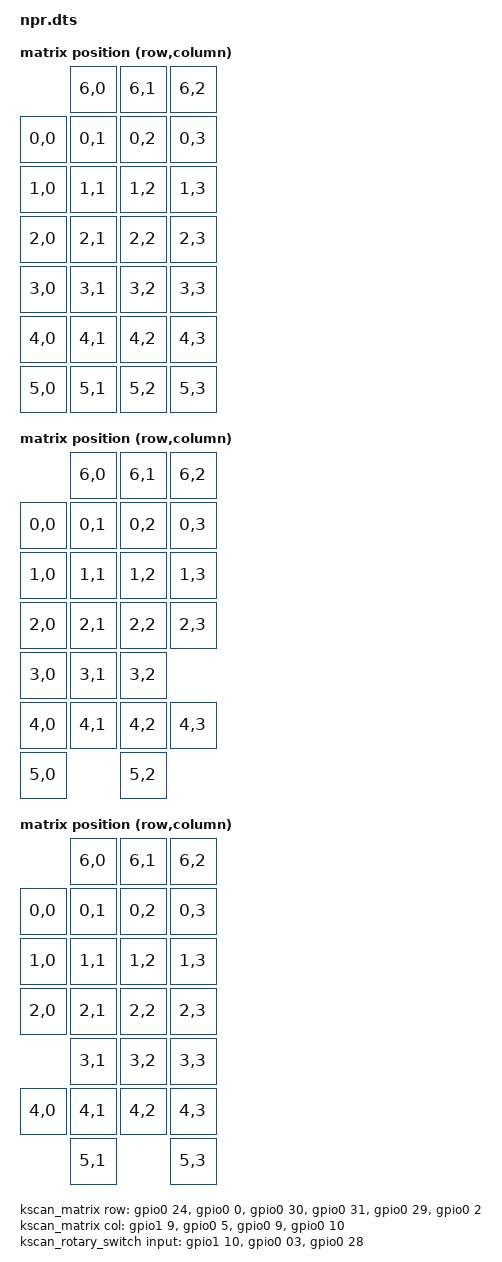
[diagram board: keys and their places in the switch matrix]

/dts-v1/;
#include "npr.dtsi"
#include "npr-pinctrl.dtsi"
#include "npr-layouts.dtsi"

/ {
    chosen {
        zmk,kscan = &kscan0;
        zmk,physical-layout = &physical_layout0;
    };

    matrix_transform_full: matrix_transform_full {
        compatible = "zmk,matrix-transform";

        rows = <7>;
        columns = <4>;
        
        map = <
                    RC(6,0) RC(6,1) RC(6,2)
            RC(0,0) RC(0,1) RC(0,2) RC(0,3)
            RC(1,0) RC(1,1) RC(1,2) RC(1,3)
            RC(2,0) RC(2,1) RC(2,2) RC(2,3)
            RC(3,0) RC(3,1) RC(3,2) RC(3,3)
            RC(4,0) RC(4,1) RC(4,2) RC(4,3)
            RC(5,0) RC(5,1) RC(5,2) RC(5,3)
        >;
    };

    matrix_transform_standard: matrix_transform_standard {
        compatible = "zmk,matrix-transform";

        rows = <7>;
        columns = <4>;
        
        map = <
                    RC(6,0) RC(6,1) RC(6,2)
            RC(0,0) RC(0,1) RC(0,2) RC(0,3)
            RC(1,0) RC(1,1) RC(1,2) RC(1,3)
            RC(2,0) RC(2,1) RC(2,2) RC(2,3)
            RC(3,0) RC(3,1) RC(3,2) 
            RC(4,0) RC(4,1) RC(4,2) RC(4,3)
            RC(5,0)         RC(5,2)
        >;
    };

    matrix_transform_mirror: matrix_transform_mirror {
        compatible = "zmk,matrix-transform";

        rows = <7>;
        columns = <4>;
        
        map = <
                    RC(6,0) RC(6,1) RC(6,2)
            RC(0,0) RC(0,1) RC(0,2) RC(0,3)
            RC(1,0) RC(1,1) RC(1,2) RC(1,3)
            RC(2,0) RC(2,1) RC(2,2) RC(2,3)
                    RC(3,1) RC(3,2) RC(3,3)
            RC(4,0) RC(4,1) RC(4,2) RC(4,3)
                    RC(5,1)         RC(5,3)
        >;
    };

    kscan0: kscan_composite {
        compatible = "zmk,kscan-composite";
        wakeup-source;

        rows = <7>;
        columns = <4>;

        // Include the direct GPIO driver...
        matrix {
            kscan = <&kscan_matrix>;
        };
        rotary {
            kscan = <&kscan_rotary_switch>;
            row-offset = <6>;
        };
    };

    kscan_matrix: kscan_matrix {
        compatible = "zmk,kscan-gpio-matrix";
        wakeup-source;

        diode-direction = "col2row";

        col-gpios
            = <&gpio1 9  GPIO_ACTIVE_HIGH>
            , <&gpio0 5  GPIO_ACTIVE_HIGH>
            , <&gpio0 9  GPIO_ACTIVE_HIGH>
            , <&gpio0 10 GPIO_ACTIVE_HIGH>
            ;

        row-gpios
            = <&gpio0 24 (GPIO_ACTIVE_HIGH | GPIO_PULL_DOWN)>
            , <&gpio0 0  (GPIO_ACTIVE_HIGH | GPIO_PULL_DOWN)>
            , <&gpio0 30 (GPIO_ACTIVE_HIGH | GPIO_PULL_DOWN)>
            , <&gpio0 31 (GPIO_ACTIVE_HIGH | GPIO_PULL_DOWN)>
            , <&gpio0 29 (GPIO_ACTIVE_HIGH | GPIO_PULL_DOWN)>
            , <&gpio0 2  (GPIO_ACTIVE_HIGH | GPIO_PULL_DOWN)>
            ;
    };

    kscan_rotary_switch: kscan_rotary_switch {
        compatible = "zmk,kscan-gpio-direct";
        wakeup-source;
        toggle-mode;

        input-gpios
            = <&gpio1 10 GPIO_ACTIVE_LOW>
            , <&gpio0 03 GPIO_ACTIVE_LOW>
            , <&gpio0 28 GPIO_ACTIVE_LOW>
            ;
    };

    output_sol: output_sol {
        compatible = "zmk,output-generic";
        #binding-cells = <0>;
        control-gpios = <&gpio1 11 GPIO_ACTIVE_HIGH>;
    };

    // soft_off_wakers {
    //     compatible = "zmk,soft-off-wakeup-sources";
    //     wakeup-sources = <&kscan_rotary_switch>;
    // };
};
